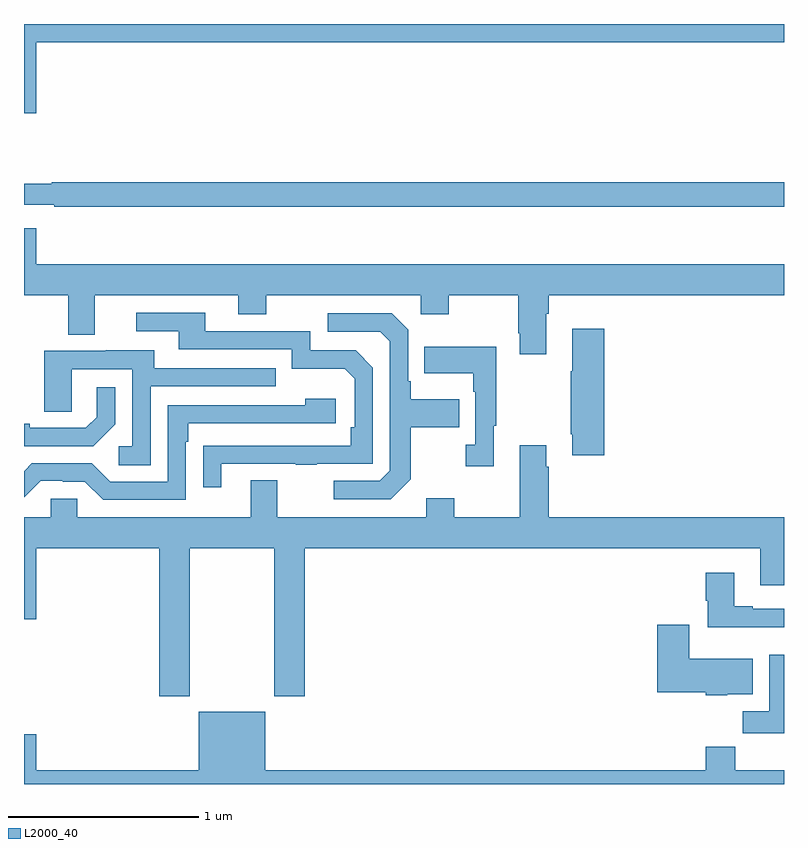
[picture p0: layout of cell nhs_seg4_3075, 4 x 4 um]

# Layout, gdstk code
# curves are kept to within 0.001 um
import gdstk
lib = gdstk.Library(unit=1e-6, precision=1e-09)
def P(c, l, *ps):  # polygons
    for p in ps: c.add(gdstk.Polygon(p, *l))
L2000_40 = (2000, 40)

nhs_seg4_3075 = lib.new_cell('nhs_seg4_3075')
P(nhs_seg4_3075, L2000_40, [(273.064,812.804),(277,812.804),(277,812.9),(273,812.9),(273,812.43),(273.064,812.43)],
  [(277,812.066),(273.146,812.066),(273.146,812.059),(273,812.059),(273,811.95),(273.16,811.95),(273.16,811.938),(277,811.938)],
  [(275.749,811.376),(275.762,811.376),(275.762,811.472),(277,811.472),(277,811.636),(273.064,811.636),(273.064,811.825),(273,811.825),(273,811.472),(273.233,811.472),(273.233,811.264),(273.373,811.264),(273.373,811.472),(274.127,811.472),(274.127,811.373),(274.275,811.373),(274.275,811.472),(275.088,811.472),(275.088,811.373),(275.235,811.373),(275.235,811.472),(275.602,811.472),(275.602,811.273),(275.609,811.273),(275.609,811.161),(275.749,811.161)],
  [(274.039,810.585),(274.429,810.585),(274.429,810.58),(274.541,810.58),(274.541,810.585),(274.836,810.585),(274.836,811.092),(274.746,811.182),(274.506,811.182),(274.506,811.284),(273.955,811.284),(273.955,811.38),(273.591,811.38),(273.591,811.284),(273.815,811.284),(273.815,811.188),(274.41,811.188),(274.41,811.085),(274.687,811.085),(274.74,811.032),(274.74,810.778),(274.72,810.778),(274.72,810.681),(273.943,810.68),(273.943,810.462),(274.039,810.462)],
  [(275.035,810.505),(275.035,810.778),(275.291,810.778),(275.291,810.925),(275.035,810.925),(275.035,811.021),(275.022,811.021),(275.022,811.29),(274.935,811.377),(274.599,811.377),(274.599,811.281),(274.875,811.281),(274.926,811.23),(274.926,810.549),(274.872,810.495),(274.629,810.495),(274.629,810.399),(274.929,810.399)],
  [(276.053,811.297),(275.885,811.297),(275.885,811.073),(275.878,811.073),(275.878,810.742),(275.885,810.742),(275.885,810.63),(276.053,810.63)],
  [(275.473,810.785),(275.485,810.785),(275.485,811.201),(275.107,811.201),(275.107,811.061),(275.364,811.061),(275.364,810.965),(275.376,810.965),(275.376,810.686),(275.325,810.686),(275.325,810.573),(275.473,810.573)],
  [(273.666,810.993),(274.325,810.993),(274.325,811.089),(273.685,811.089),(273.685,811.183),(273.431,811.183),(273.431,811.179),(273.107,811.179),(273.107,810.859),(273.252,810.859),(273.252,811.083),(273.57,811.083),(273.57,810.678),(273.498,810.678),(273.498,810.577),(273.666,810.577)],
  [(273.48,810.794),(273.48,810.988),(273.383,810.988),(273.383,810.831),(273.326,810.774),(273.031,810.774),(273.031,810.797),(273,810.797),(273,810.678),(273.364,810.678)],
  [(273.852,810.701),(273.865,810.701),(273.865,810.798),(274.642,810.798),(274.642,810.928),(274.481,810.928),(274.481,810.894),(273.756,810.894),(273.756,810.492),(273.453,810.492),(273.357,810.588),(273.042,810.588),(273,810.546),(273,810.408),(273.087,810.495),(273.203,810.495),(273.203,810.492),(273.321,810.492),(273.417,810.396),(273.852,810.396)],
  [(276.875,809.946),(277,809.946),(277,810.304),(275.762,810.304),(275.762,810.569),(275.749,810.569),(275.749,810.682),(275.609,810.682),(275.609,810.304),(275.265,810.304),(275.265,810.403),(275.117,810.403),(275.117,810.304),(274.333,810.304),(274.333,810.499),(274.193,810.499),(274.193,810.304),(273.279,810.304),(273.279,810.402),(273.141,810.402),(273.141,810.304),(273,810.304),(273,809.766),(273.064,809.766),(273.064,810.14),(273.713,810.14),(273.713,809.361),(273.873,809.361),(273.873,810.14),(274.318,810.14),(274.318,809.361),(274.478,809.361),(274.478,810.14),(276.875,810.14)],
  [(277,809.823),(276.835,809.823),(276.835,809.836),(276.739,809.836),(276.739,810.013),(276.587,810.013),(276.587,809.865),(276.599,809.865),(276.599,809.726),(277,809.726)],
  [(276.702,809.372),(276.835,809.372),(276.835,809.56),(276.502,809.56),(276.502,809.737),(276.332,809.737),(276.332,809.384),(276.588,809.384),(276.588,809.366),(276.702,809.366)],
  [(277,809.581),(276.923,809.581),(276.923,809.284),(276.784,809.284),(276.784,809.166),(277,809.166)],
  [(277,808.972),(276.743,808.972),(276.743,809.096),(276.587,809.096),(276.587,808.972),(274.27,808.972),(274.27,809.281),(273.92,809.281),(273.92,808.972),(273.064,808.972),(273.064,809.161),(273,809.161),(273,808.9),(277,808.9)])

lib.write_gds('nhs_seg4_3075.gds')
